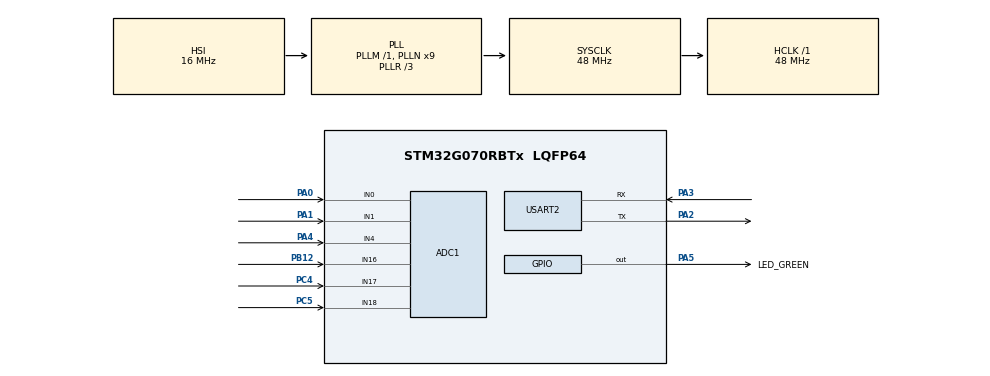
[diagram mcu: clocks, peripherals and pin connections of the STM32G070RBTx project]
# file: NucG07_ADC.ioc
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ADC1.ClockPrescaler=ADC_CLOCK_SYNC_PCLK_DIV4
ADC1.ContinuousConvMode=DISABLE
ADC1.DMAContinuousRequests=ENABLE
ADC1.EOCSelection=ADC_EOC_SEQ_CONV
ADC1.ExternalTrigConv=ADC_EXTERNALTRIG_T6_TRGO
ADC1.ExternalTrigConvEdge=ADC_EXTERNALTRIGCONVEDGE_FALLING
ADC1.NbrOfConversion=1
ADC1.NbrOfConversionFlag=0
ADC1.Overrun=ADC_OVR_DATA_OVERWRITTEN
ADC1.SamplingTimeCommon1=ADC_SAMPLETIME_160CYCLES_5
ADC1.SelectedChannel=ADC_CHANNEL_0|ADC_CHANNEL_1|ADC_CHANNEL_4|ADC_CHANNEL_16|ADC_CHANNEL_17|ADC_CHANNEL_18|ADC_CHANNEL_TEMPSENSOR|ADC_CHANNEL_VREFINT
ADC1.Sequencer=NOT_FULLY_CONFIGURABLE
ADC1.master=1
Dma.ADC1.0.Direction=DMA_PERIPH_TO_MEMORY
Dma.ADC1.0.EventEnable=DISABLE
Dma.ADC1.0.Instance=DMA1_Channel1
Dma.ADC1.0.MemDataAlignment=DMA_MDATAALIGN_HALFWORD
Dma.ADC1.0.MemInc=DMA_MINC_ENABLE
Dma.ADC1.0.Mode=DMA_CIRCULAR
Dma.ADC1.0.PeriphDataAlignment=DMA_PDATAALIGN_HALFWORD
Dma.ADC1.0.PeriphInc=DMA_PINC_DISABLE
Dma.ADC1.0.Polarity=HAL_DMAMUX_REQ_GEN_RISING
Dma.ADC1.0.Priority=DMA_PRIORITY_HIGH
Dma.ADC1.0.RequestNumber=1
Dma.ADC1.0.SignalID=NONE
Dma.ADC1.0.SyncEnable=DISABLE
Dma.ADC1.0.SyncPolarity=HAL_DMAMUX_SYNC_NO_EVENT
Dma.ADC1.0.SyncRequestNumber=1
Dma.ADC1.0.SyncSignalID=NONE
Dma.Request0=ADC1
Mcu.Family=STM32G0
Mcu.Name=STM32G070RBTx
Mcu.Package=LQFP64
Mcu.UserConstants=DEBUGPORT,USART2
NVIC.ADC1_IRQn=true\:0\:0\:false\:false\:true\:true\:true
NVIC.DMA1_Channel1_IRQn=true\:0\:0\:false\:false\:true\:false\:true
PA0.Mode=IN0
PA0.Signal=ADC1_IN0
PA1.Mode=IN1
PA1.Signal=ADC1_IN1
PA13.GPIO_Label=TMS
PA13.Mode=Serial_Wire
PA13.Signal=SYS_SWDIO
PA14-BOOT0.GPIO_Label=TCK
PA14-BOOT0.Mode=Serial_Wire
PA14-BOOT0.Signal=SYS_SWCLK
PA2.GPIO_PuPd=GPIO_PULLUP
PA2.Mode=Asynchronous
PA2.Signal=USART2_TX
PA3.GPIO_PuPd=GPIO_PULLUP
PA3.Mode=Asynchronous
PA3.Signal=USART2_RX
PA4.Mode=IN4
PA4.Signal=ADC1_IN4
PA5.GPIO_Label=LED_GREEN
PA5.GPIO_Speed=GPIO_SPEED_FREQ_HIGH
PA5.Signal=GPIO_Output
PB12.Mode=IN16
PB12.Signal=ADC1_IN16
PC4.Mode=IN17
PC4.Signal=ADC1_IN17
PC5.Mode=IN18
PC5.Signal=ADC1_IN18
ProjectManager.HeapSize=0x200
ProjectManager.StackSize=0x400
ProjectManager.TargetToolchain=STM32CubeIDE
RCC.ADCCLockSelection=RCC_ADCCLKSOURCE_PLLADC
RCC.ADCFreq_Value=9600000
RCC.AHBFreq_Value=48000000
RCC.CortexFreq_Value=48000000
RCC.EXTERNAL_CLOCK_VALUE=12288000
RCC.HCLKFreq_Value=48000000
RCC.HSE_VALUE=8000000
RCC.HSI_VALUE=16000000
RCC.PLLN=9
RCC.PLLP=RCC_PLLP_DIV15
RCC.PLLR=RCC_PLLR_DIV3
RCC.SYSCLKFreq_VALUE=48000000
RCC.SYSCLKSource=RCC_SYSCLKSOURCE_PLLCLK
RCC.VCOOutputFreq_Value=144000000
TIM6.Period=ARR_1KHz
TIM6.Prescaler=PSC_10KHz
TIM6.TIM_MasterOutputTrigger=TIM_TRGO_UPDATE
USART2.VirtualMode-Asynchronous=VM_ASYNC
USART2.WordLength=WORDLENGTH_8B
VP_ADC1_TempSens_Input.Mode=IN-TempSens
VP_ADC1_Vref_Input.Mode=IN-Vrefint
VP_SYS_VS_DBSignals.Mode=DisableDeadBatterySignals
VP_TIM6_VS_ClockSourceINT.Mode=Enable_Timer
board=NUCLEO-G070RB

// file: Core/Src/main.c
/* USER CODE BEGIN Header */
/**
  ******************************************************************************
  * @file           : main.c
  * @brief          : Main program body
  ******************************************************************************
  * @attention
  *
  * <h2><center>&copy; Copyright (c) 2020 STMicroelectronics.
  * All rights reserved.</center></h2>
  *
  * This software component is licensed by ST under BSD 3-Clause license,
  * the "License"; You may not use this file except in compliance with the
  * License. You may obtain a copy of the License at:
  *                        opensource.org/licenses/BSD-3-Clause
  *
  ******************************************************************************
  */
/* USER CODE END Header */
#include "main.h"
#include "adc.h"
#include "dma.h"
#include "tim.h"
#include "usart.h"
#include "gpio.h"

/* USER CODE BEGIN Includes */
#include <stdio.h>

/* USER CODE END Includes */

/* USER CODE BEGIN PD */

/* Delay between ADC end of calibration and ADC enable.                     */
/* Delay estimation in CPU cycles: Case of ADC enable done                  */
/* immediately after ADC calibration, ADC clock setting slow                */
/* (LL_ADC_CLOCK_ASYNC_DIV32). Use a higher delay if ratio                  */
/* (CPU clock / ADC clock) is above 32.                                     */
#define ADC_DELAY_CALIB_ENABLE_CPU_CYCLES  (LL_ADC_DELAY_CALIB_ENABLE_ADC_CYCLES * 32)

/* USER CODE END PD */

/* USER CODE BEGIN PM */
/* Definitions of data related to this example */
/* Definition of ADCx conversions data table size */
#define ADC_CONVERTED_DATA_BUFFER_SIZE   (   5U)

/* USER CODE END PM */

/* USER CODE BEGIN PV */
/* Variables for ADC conversion data */
__IO uint16_t adcValues[ADC_CONVERTED_DATA_BUFFER_SIZE]; /* ADC group regular conversion data */

/* USER CODE END PV */

void SystemClock_Config(void);

/* USER CODE BEGIN 0 */
#ifdef USE_HAL_DRIVER
int __io_putchar(int ch) {
    HAL_UART_Transmit(&huart2, (uint8_t *)&ch, 1, 1000);
    return 0;
}
#else
int __io_putchar(int ch) {
    while (!LL_USART_IsActiveFlag_TXE(DEBUGPORT));

    /* If last char to be sent, clear TC flag */
    if (ch == '\n') {
        LL_USART_ClearFlag_TC(DEBUGPORT);
    }

    /* Write character in Transmit Data register.
        TXE flag is cleared by writing data in TDR register */
    LL_USART_TransmitData8(DEBUGPORT, ch);

    /* Wait for TC flag to be raised for last char */
    while (!LL_USART_IsActiveFlag_TC(DEBUGPORT));

    return 0;
}
#endif

#ifdef USE_HAL_DRIVER
void Activate_ADC(void) {
    /* Run the ADC calibration */
    if (HAL_ADCEx_Calibration_Start(&hadc1) != HAL_OK) {
        /* Calibration Error */
        Error_Handler();
    }
    /* Enable Timer */
    if (HAL_TIM_Base_Start(&htim6) != HAL_OK) {
        /* Counter enable error */
        Error_Handler();
    }

    /* Start ADC conversions */
    /* Start ADC group regular conversion with DMA */
    if (HAL_ADC_Start_DMA(&hadc1, (uint32_t *) adcValues, ADC_CONVERTED_DATA_BUFFER_SIZE) != HAL_OK) {
        /* ADC conversion start error */
        Error_Handler();
    }
}
#else
void Activate_ADC(void) {
    __IO uint32_t wait_loop_index = 0U;
    __IO uint32_t backup_setting_adc_dma_transfer = 0U;

    /* Note: Hardware constraint (refer to description of the functions         */
    /*       below):                                                            */
    /*       On this STM32 series, setting of these features is conditioned to  */
    /*       ADC state:                                                         */
    /*       ADC must be disabled.                                              */
    /* Note: In this example, all these checks are not necessary but are        */
    /*       implemented anyway to show the best practice usages                */
    /*       corresponding to reference manual procedure.                       */
    /*       Software can be optimized by removing some of these checks, if     */
    /*       they are not relevant considering previous settings and actions    */
    /*       in user application.                                               */
    if (LL_ADC_IsEnabled(ADC1) != 0) {
        return;
    }

    /* Select ADC as DMA transfer request */
    LL_DMAMUX_SetRequestID(DMAMUX1,
                           LL_DMAMUX_CHANNEL_0,
                           LL_DMAMUX_REQ_ADC1);

    /* Set DMA transfer addresses of source and destination */
    LL_DMA_ConfigAddresses(DMA1,
                           LL_DMA_CHANNEL_1,
                           LL_ADC_DMA_GetRegAddr(ADC1, LL_ADC_DMA_REG_REGULAR_DATA),
                           (uint32_t)&adcValues,
                           LL_DMA_DIRECTION_PERIPH_TO_MEMORY);

    /* Set DMA transfer size */
    LL_DMA_SetDataLength(DMA1,
                         LL_DMA_CHANNEL_1,
                         ADC_CONVERTED_DATA_BUFFER_SIZE);

    /* Enable DMA transfer interruption: transfer complete */
    LL_DMA_EnableIT_TC(DMA1,
                       LL_DMA_CHANNEL_1);

    /* Enable DMA transfer interruption: half transfer */
    LL_DMA_EnableIT_HT(DMA1,
                       LL_DMA_CHANNEL_1);

    /* Enable DMA transfer interruption: transfer error */
    LL_DMA_EnableIT_TE(DMA1,
                       LL_DMA_CHANNEL_1);

    /*## Activation of DMA #####################################################*/
    /* Enable counter */
    LL_TIM_EnableCounter(TIM6);

    /* Enable the DMA transfer */
    LL_DMA_EnableChannel(DMA1,
                         LL_DMA_CHANNEL_1);

    /* Configuration of ADC interruptions */
    /* Enable interruption ADC group regular overrun */
    LL_ADC_EnableIT_OVR(ADC1);

    /*## Operation on ADC hierarchical scope: ADC instance #####################*/

    /* Disable ADC DMA transfer request during calibration */
    /* Note: Specificity of this STM32 series: Calibration factor is          */
    /*       available in data register and also transferred by DMA.          */
    /*       To not insert ADC calibration factor among ADC conversion data   */
    /*       in DMA destination address, DMA transfer must be disabled during */
    /*       calibration.                                                     */
    backup_setting_adc_dma_transfer = LL_ADC_REG_GetDMATransfer(ADC1);
    LL_ADC_REG_SetDMATransfer(ADC1, LL_ADC_REG_DMA_TRANSFER_NONE);

    /* Run ADC self calibration */
    LL_ADC_StartCalibration(ADC1);

    /* Poll for ADC effectively calibrated */
    while (LL_ADC_IsCalibrationOnGoing(ADC1) != 0);

    /* Restore ADC DMA transfer request after calibration */
    LL_ADC_REG_SetDMATransfer(ADC1, backup_setting_adc_dma_transfer);

    /* Delay between ADC end of calibration and ADC enable.                   */
    /* Note: Variable divided by 2 to compensate partially                    */
    /*       CPU processing cycles (depends on compilation optimization).     */
    wait_loop_index = (ADC_DELAY_CALIB_ENABLE_CPU_CYCLES >> 1);
    while (wait_loop_index != 0) {
        wait_loop_index--;
    }

    /* Enable ADC */
    LL_ADC_Enable(ADC1);

    /* Poll for ADC ready to convert */
    while (LL_ADC_IsActiveFlag_ADRDY(ADC1) == 0);
    /* Note: ADC flag ADRDY is not cleared here to be able to check ADC       */
    /*       status afterwards.                                               */
    /*       This flag should be cleared at ADC Deactivation, before a new    */
    /*       ADC activation, using function "LL_ADC_ClearFlag_ADRDY()".       */

    /*## Operation on ADC hierarchical scope: ADC group regular ################*/
    /* Note: No operation on ADC group regular performed here.                  */
    /*       ADC group regular conversions to be performed after this function  */
    /*       using function:                                                    */
    /*       "LL_ADC_REG_StartConversion();"                                    */

    /*## Operation on ADC hierarchical scope: ADC group injected ###############*/
    /* Note: Feature not available on this STM32 series */

}
#endif

void print_ADC_data() {
    uint32_t aChannels = LL_ADC_REG_GetSequencerChannels(ADC1);
    unsigned chanPos = 0;
    for (unsigned i = 0; i < ADC_CHSELR_CHSEL18_BITOFFSET_POS; i++) {
        if (aChannels & (1 << i)) {
            if ((1U << i) == (LL_ADC_CHANNEL_TEMPSENSOR & ADC_CHSELR_CHSEL_Msk)) {
                printf("Temp Channel #%d (at %d) = %ld ºC (raw: %d)\n", i, chanPos,
                       __LL_ADC_CALC_TEMPERATURE(VDD_VALUE, adcValues[chanPos],
                                                 LL_ADC_RESOLUTION_12B), adcValues[chanPos]);
            } else if ((1U << i) == (LL_ADC_CHANNEL_VREFINT & ADC_CHSELR_CHSEL_Msk)) {
                printf("VREF Channel #%d (at %d) = %lu mV (raw: %d)\n", i, chanPos,
                       __LL_ADC_CALC_DATA_TO_VOLTAGE(VDD_VALUE, adcValues[chanPos],
                                                     LL_ADC_RESOLUTION_12B), adcValues[chanPos]);
            } else {
                printf("Volt Channel #%d (at %d) = %lu mV (raw: %d)\n", i, chanPos,
                       __LL_ADC_CALC_DATA_TO_VOLTAGE(VDD_VALUE, adcValues[chanPos],
                                                     LL_ADC_RESOLUTION_12B), adcValues[chanPos]);
            }
            chanPos++;
        }
    }
    printf("\n");
}

/**
  * @brief  DMA transfer complete callback
  * @note   This function is executed when the transfer complete interrupt
  *         is generated
  * @retval None
  */
void AdcDmaTransferComplete_Callback() {
    /* Computation of ADC conversions raw data to physical values               */
    /* using LL ADC driver helper macro.                                        */
    /* Management of the 2nd half of the buffer */
    static uint16_t intcount = 0;
    if (intcount++ == 1000 ) {
        print_ADC_data();
        intcount = 0;
    }
}

/**
  * @brief  DMA half transfer callback
  * @note   This function is executed when the half transfer interrupt
  *         is generated
  * @retval None
  */
void AdcDmaTransferHalf_Callback() {
    /* Computation of ADC conversions raw data to physical values               */
    /* using LL ADC driver helper macro.                                        */
    /* Management of the 1st half of the buffer */
}

/**
  * @brief  DMA transfer error callback
  * @note   This function is executed when the transfer error interrupt
  *         is generated during DMA transfer
  * @retval None
  */
void AdcDmaTransferError_Callback() {
    /* Error detected during DMA transfer */
    printf("AdcDmaTransferError\n");
}

/**
  * @brief  ADC group regular overrun interruption callback
  * @note   This function is executed when ADC group regular
  *         overrun error occurs.
  * @retval None
  */
void AdcGrpRegularOverrunError_Callback(void) {
    /* Note: Disable ADC interruption that caused this error before entering in */
    /*       infinite loop below.                                               */

    /* Disable ADC group regular overrun interruption */
    LL_ADC_DisableIT_OVR(ADC1);

    printf("AdcGrpRegularOverrunError\n");
}

/* USER CODE END 0 */

int main(void)
{

  /* MCU Configuration--------------------------------------------------------*/

  /* Reset of all peripherals, Initializes the Flash interface and the Systick. */
  HAL_Init();

  /* Configure the system clock */
  SystemClock_Config();

  /* Initialize all configured peripherals */
  MX_GPIO_Init();
  MX_DMA_Init();
  MX_ADC1_Init();
  MX_USART2_UART_Init();
  MX_TIM6_Init();
  /* USER CODE BEGIN 2 */
    printf("Init complete!\n");

    /* Activate ADC */
    /* Perform ADC activation procedure to make it ready to convert. */
    Activate_ADC();

    /* Start ADC group regular conversion */
    /* Note: Hardware constraint (refer to description of the function          */
    /*       below):                                                            */
    /*       On this STM32 series, setting of this feature is conditioned to    */
    /*       ADC state:                                                         */
    /*       ADC must be enabled without conversion on going on group regular,  */
    /*       without ADC disable command on going.                              */
    /* Note: In this example, all these checks are not necessary but are        */
    /*       implemented anyway to show the best practice usages                */
    /*       corresponding to reference manual procedure.                       */
    /*       Software can be optimized by removing some of these checks, if     */
    /*       they are not relevant considering previous settings and actions    */
    /*       in user application.                                               */
    if ((LL_ADC_IsEnabled(ADC1) == 1) &&
        (LL_ADC_IsDisableOngoing(ADC1) == 0) &&
        (LL_ADC_REG_IsConversionOngoing(ADC1) == 0)) {
        LL_ADC_REG_StartConversion(ADC1);
    } else {
        printf("Error: ADC conversion start could not be performed\n");
    }

  /* USER CODE END 2 */

  /* Infinite loop */
  /* USER CODE BEGIN WHILE */
#pragma clang diagnostic push
#pragma ide diagnostic ignored "EndlessLoop"
#ifdef USE_HAL_DRIVER
    HAL_GPIO_WritePin(LED_GREEN_GPIO_Port, LED_GREEN_Pin, 0);
#else
    LL_GPIO_SetOutputPin(LED_GREEN_GPIO_Port, LED_GREEN_Pin);
#endif
  while (1)
  {
      // Wait for adc sampling
     // while(LL_ADC_REG_IsConversionOngoing(ADC1));

     __WFI();
//      print_ADC_data();
#ifdef USE_HAL_DRIVER
      HAL_GPIO_TogglePin(LED_GREEN_GPIO_Port, LED_GREEN_Pin);
      HAL_Delay(100);
#else
      LL_GPIO_TogglePin(LED_GREEN_GPIO_Port, LED_GREEN_Pin);
      LL_mDelay(100);
#endif
    /* USER CODE END WHILE */

    /* USER CODE BEGIN 3 */
  }
#pragma clang diagnostic pop
  /* USER CODE END 3 */
}

void SystemClock_Config(void)
{
  RCC_OscInitTypeDef RCC_OscInitStruct = {0};
  RCC_ClkInitTypeDef RCC_ClkInitStruct = {0};
  RCC_PeriphCLKInitTypeDef PeriphClkInit = {0};

  /** Configure the main internal regulator output voltage
  */
  HAL_PWREx_ControlVoltageScaling(PWR_REGULATOR_VOLTAGE_SCALE1);
  /** Initializes the RCC Oscillators according to the specified parameters
  * in the RCC_OscInitTypeDef structure.
  */
  RCC_OscInitStruct.OscillatorType = RCC_OSCILLATORTYPE_HSI;
  RCC_OscInitStruct.HSIState = RCC_HSI_ON;
  RCC_OscInitStruct.HSIDiv = RCC_HSI_DIV1;
  RCC_OscInitStruct.HSICalibrationValue = RCC_HSICALIBRATION_DEFAULT;
  RCC_OscInitStruct.PLL.PLLState = RCC_PLL_ON;
  RCC_OscInitStruct.PLL.PLLSource = RCC_PLLSOURCE_HSI;
  RCC_OscInitStruct.PLL.PLLM = RCC_PLLM_DIV1;
  RCC_OscInitStruct.PLL.PLLN = 9;
  RCC_OscInitStruct.PLL.PLLP = RCC_PLLP_DIV15;
  RCC_OscInitStruct.PLL.PLLR = RCC_PLLR_DIV3;
  if (HAL_RCC_OscConfig(&RCC_OscInitStruct) != HAL_OK)
  {
    Error_Handler();
  }
  /** Initializes the CPU, AHB and APB buses clocks
  */
  RCC_ClkInitStruct.ClockType = RCC_CLOCKTYPE_HCLK|RCC_CLOCKTYPE_SYSCLK
                              |RCC_CLOCKTYPE_PCLK1;
  RCC_ClkInitStruct.SYSCLKSource = RCC_SYSCLKSOURCE_PLLCLK;
  RCC_ClkInitStruct.AHBCLKDivider = RCC_SYSCLK_DIV1;
  RCC_ClkInitStruct.APB1CLKDivider = RCC_HCLK_DIV1;

  if (HAL_RCC_ClockConfig(&RCC_ClkInitStruct, FLASH_LATENCY_1) != HAL_OK)
  {
    Error_Handler();
  }
  /** Initializes the peripherals clocks
  */
  PeriphClkInit.PeriphClockSelection = RCC_PERIPHCLK_USART2|RCC_PERIPHCLK_ADC;
  PeriphClkInit.Usart2ClockSelection = RCC_USART2CLKSOURCE_PCLK1;
  PeriphClkInit.AdcClockSelection = RCC_ADCCLKSOURCE_PLLADC;
  if (HAL_RCCEx_PeriphCLKConfig(&PeriphClkInit) != HAL_OK)
  {
    Error_Handler();
  }
}

/* USER CODE BEGIN 4 */
_Noreturn
/* USER CODE END 4 */

void Error_Handler(void)
{
  __disable_irq();
  while (1)
  {
  }
}

/************************ (C) COPYRIGHT STMicroelectronics *****END OF FILE****/
